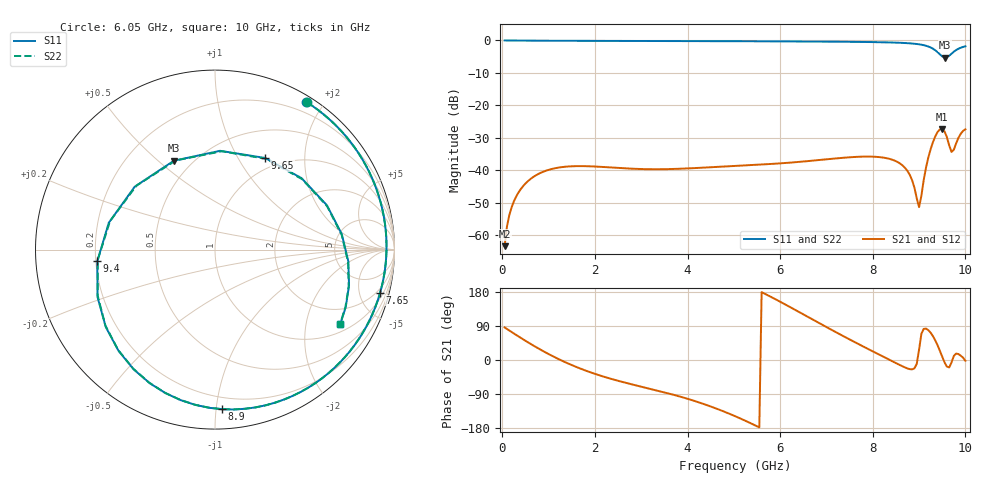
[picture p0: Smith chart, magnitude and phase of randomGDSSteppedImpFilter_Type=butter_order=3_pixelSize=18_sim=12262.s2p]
! freq	dB(S11)	phase(S11)	dB(S12)	phase(S12)
!  dB(S21)	phase(S21)	dB(S22)	phase(S22)
!S-par simulation data
#  GHz  S  DB  R 50
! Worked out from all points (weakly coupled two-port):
!   200 points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, 50 MHz to 10 GHz, reference 50 ohm
!   highest |S21| = -27.24 dB at 9.5 GHz (marker M1); lowest = -63.3 dB at 50 MHz (marker M2)
!   lowest |S11| = -5.3 dB at 9.55 GHz (marker M3), VSWR 3.40, Z = 20 + j28.2 ohm
!   |S11| at or under -10 dB: nowhere
!   |S22| runs from -5.3 to 0.0 dB; largest |S21 - S12| = 0
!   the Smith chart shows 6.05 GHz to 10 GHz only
!   S11 on the Smith chart (normalised r, x): 6.05 GHz: 0.07, +1.79; 7.65 GHz: 1.50, -7.51; 8.9 GHz: 0.12, -1.04; 9.4 GHz: 0.21, -0.05; 9.65 GHz: 0.85, +1.31; 10 GHz: 1.29, -3.15
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0.05  -0.00 -4.1  -63.31 85.9  -63.31 85.9  -0.00 -4.1
0.2  -0.02 -16.1  -51.40 73.9  -51.40 73.9  -0.02 -16.1
0.5  -0.05 -39.4  -44.03 50.7  -44.03 50.7  -0.05 -39.4
1.1  -0.10 -81.9  -39.44 9.4  -39.44 9.4  -0.09 -81.9
1.75  -0.12 -120.2  -38.67 -25.6  -38.67 -25.6  -0.12 -120.3
2.55  -0.15 -158.9  -39.27 -56.5  -39.27 -56.5  -0.14 -159.0
3.4  -0.17 165.7  -39.63 -82.3  -39.63 -82.3  -0.16 165.6
5.05  -0.23 100.3  -38.60 -149.5  -38.60 -149.5  -0.23 100.1
6.05  -0.29 58.2  -37.77 150.6  -37.77 150.6  -0.29 58.0
6.7  -0.33 29.4  -36.99 107.0  -36.99 107.0  -0.33 29.1
7.65  -0.44 -14.6  -35.82 44.7  -35.82 44.7  -0.44 -14.9
8.35  -0.60 -50.1  -36.40 1.2  -36.40 1.2  -0.61 -50.4
8.7  -0.79 -71.7  -39.26 -19.9  -39.26 -19.9  -0.80 -72.0
8.9  -1.01 -87.4  -45.32 -22.0  -45.32 -22.0  -1.02 -87.8
9  -1.19 -97.1  -51.30 27.7  -51.30 27.7  -1.20 -97.6
9.2  -1.87 -124.1  -36.01 78.8  -36.01 78.8  -1.89 -124.6
9.4  -3.62 -174.3  -28.16 38.6  -28.16 38.6  -3.68 -175.2
9.5  -4.91 142.0  -27.24 8.4  -27.24 8.4  -4.97 140.9
9.55  -5.26 114.9  -28.00 -6.4  -28.00 -6.4  -5.31 113.8
9.65  -4.71 61.4  -32.30 -19.5  -32.30 -19.5  -4.72 60.5
9.8  -2.96 7.0  -31.67 16.9  -31.67 16.9  -2.97 6.5
10  -1.81 -30.8  -27.35 -2.0  -27.35 -2.0  -1.82 -30.9
